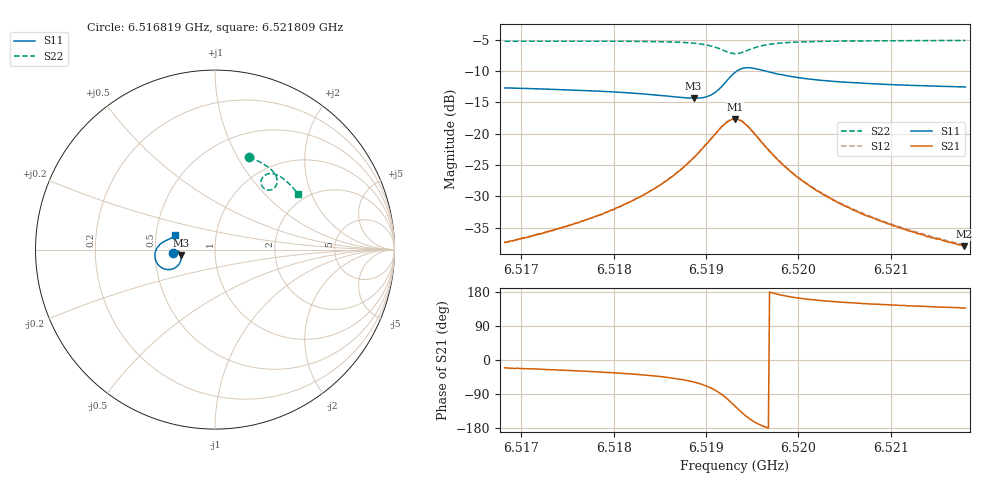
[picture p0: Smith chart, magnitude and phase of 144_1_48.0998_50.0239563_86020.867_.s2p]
#  HZ  S  RI  R  50.00
! Rohde & Schwarz Vector Network Analyzer
! Rohde-Schwarz,ZNB20-2Port,1311601062101988,3.16
! Created: UTC 12/23/2023, 3:49:05 AM
! freq[Hz]  re:S11  im:S11  re:S21  im:S21  re:S12  im:S12  re:S22  im:S22
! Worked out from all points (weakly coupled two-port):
!   401 points, 6.516819 GHz to 6.521809 GHz, reference 50 ohm
!   highest |S21| = -17.65 dB at 6.519314 GHz (marker M1); lowest = -38.0 dB at 6.521797 GHz (marker M2)
!   lowest |S11| = -14.3 dB at 6.518865 GHz (marker M3), VSWR 1.48, Z = 34 - j2.31 ohm
!   |S11| at or under -10 dB: start of sweep to 6.519332 GHz; 6.519649 GHz to end of sweep
!   |S22| runs from -7.2 to -5.1 dB; largest |S21 - S12| = 0.004
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6.5168186e9  -0.2316 -0.0206  0.0127 -0.00475  0.0128 -0.00431  0.1905 0.5138
6.5172304e9  -0.2275 -0.0143  0.0146 -0.00671  0.0147 -0.00618  0.2209 0.5018
6.5176545e9  -0.2219 -0.00892  0.0175 -0.0099  0.0178 -0.00921  0.2524 0.4869
6.5180912e9  -0.2137 -0.00615  0.0219 -0.0154  0.0223 -0.0147  0.285 0.4676
6.5184905e9  -0.2028 -0.00973  0.0279 -0.0265  0.0289 -0.0256  0.3157 0.4431
6.5186776e9  -0.1961 -0.0168  0.0316 -0.0365  0.033 -0.0356  0.3302 0.4266
6.5188648e9  -0.1894 -0.0327  0.034 -0.0542  0.0359 -0.0535  0.3427 0.4032
6.5189895e9  -0.1889 -0.0528  0.0311 -0.074  0.0336 -0.0735  0.3465 0.3805
6.5190769e9  -0.1955 -0.0733  0.0217 -0.0928  0.0248 -0.0927  0.3424 0.3607
6.5192141e9  -0.2358 -0.1076  -0.0197 -0.1203  -0.0163 -0.1215  0.3118 0.333
6.5193139e9  -0.291 -0.1041  -0.0689 -0.1115  -0.0663 -0.1145  0.2744 0.3396
6.5193638e9  -0.3149 -0.0864  -0.0883 -0.0935  -0.0862 -0.0968  0.2613 0.3547
6.5194262e9  -0.3317 -0.0563  -0.1 -0.0656  -0.0987 -0.0691  0.2564 0.3774
6.519526e9  -0.3323 -0.0126  -0.0957 -0.0283  -0.0956 -0.0313  0.2684 0.4057
6.5196383e9  -0.3173 0.0175  -0.0797 -0.00509  -0.08 -0.00734  0.2906 0.4204
6.5198754e9  -0.2873 0.0433  -0.0519 0.0107  -0.0528 0.00932  0.3297 0.4213
6.5201498e9  -0.2665 0.0535  -0.0347 0.0133  -0.0356 0.0125  0.3602 0.4089
6.5204742e9  -0.2521 0.0599  -0.0241 0.0126  -0.0249 0.012  0.3865 0.3909
6.5209858e9  -0.238 0.0675  -0.0157 0.0108  -0.0162 0.0105  0.4193 0.3608
6.52141e9  -0.2297 0.0735  -0.0118 0.00952  -0.0122 0.00938  0.4422 0.3353
6.5217967e9  -0.2233 0.0788  -0.00925 0.00864  -0.00984 0.00859  0.461 0.3113
6.5218092e9  -0.223 0.079  -0.00937 0.00864  -0.00976 0.00848  0.4616 0.3106
